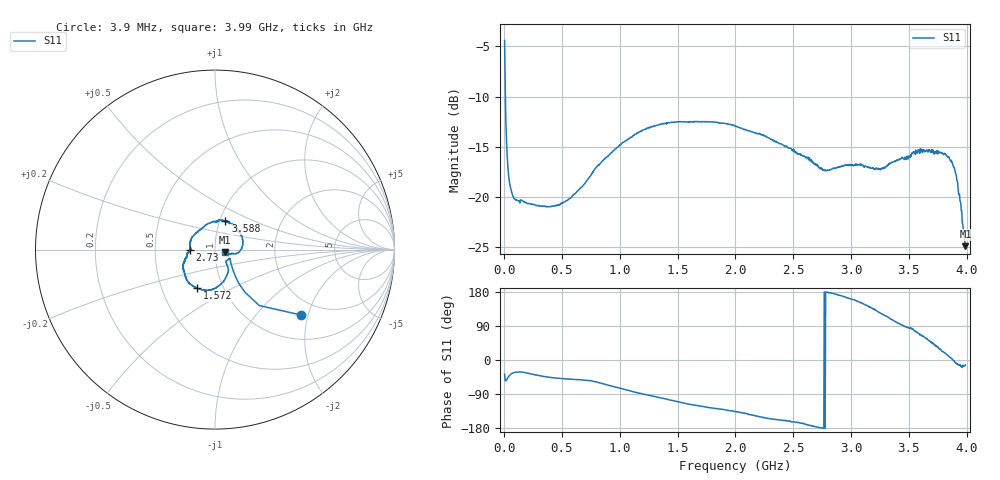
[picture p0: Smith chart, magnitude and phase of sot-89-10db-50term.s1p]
# HZ S RI R 50
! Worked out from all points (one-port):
!   1023 points, 3.9 MHz to 3.99 GHz, reference 50 ohm
!   lowest |S11| = -24.9 dB at 3.99 GHz (marker M1), VSWR 1.12, Z = 55.9 - j1.46 ohm
!   |S11| at or under -10 dB: 10.64 MHz to end of sweep
!   S11 on the Smith chart (normalised r, x): 3.9 MHz: 1.58, -1.80; 1.572 GHz: 0.75, -0.34; 2.73 GHz: 0.75, -0.01; 3.588 GHz: 1.07, +0.35; 3.99 GHz: 1.12, -0.03
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3900000  0.4775 -0.3642
2.73e7  0.1013 -0.1175
3.51e7  0.0947 -0.0955
5.07e7  0.088 -0.0729
7.8e7  0.0836 -0.0565
1.17e8  0.0815 -0.0513
3.042e8  0.0681 -0.0597
5.031e8  0.0612 -0.0707
6.747e8  0.0689 -0.0894
7.995e8  0.0743 -0.1201
1.0023e9  0.0493 -0.1753
1.2519e9  -0.0116 -0.2209
1.5015e9  -0.0814 -0.2223
1.5717e9  -0.0992 -0.2149
1.9968e9  -0.1616 -0.1574
2.2503e9  -0.1798 -0.0938
2.496e9  -0.164 -0.05
2.73e9  -0.1402 -0.00381
2.8002e9  -0.1359 0.00442
2.9952e9  -0.1373 0.0472
3.2604e9  -0.0756 0.1166
3.4944e9  0.0124 0.1541
3.588e9  0.0583 0.1581
3.7752e9  0.1484 0.0755
3.8649e9  0.1506 0.0126
3.8922e9  0.1406 -0.00445
3.9195e9  0.1178 -0.025
3.9897e9  0.0556 -0.013
